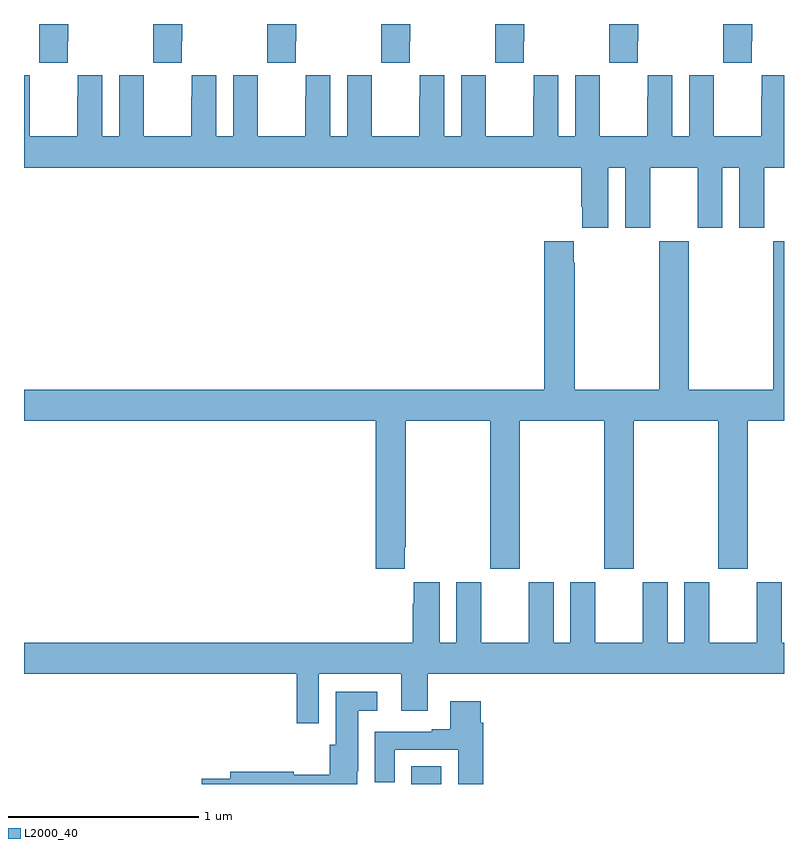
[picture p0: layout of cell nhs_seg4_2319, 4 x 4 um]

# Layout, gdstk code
import gdstk
lib = gdstk.Library(unit=1e-6, precision=1e-09)
def R(c, l, rs):  # rectangles x0, y0, x1, y1
    for r in rs: c.add(gdstk.rectangle(r[:2], r[2:], *l))
def P(c, l, *ps):  # polygons
    for p in ps: c.add(gdstk.Polygon(p, *l))
L2000_40 = (2000, 40)

nhs_seg4_2319 = lib.new_cell('nhs_seg4_2319')
R(nhs_seg4_2319, L2000_40, [(233.039,802.9,233.197,802.994)])
P(nhs_seg4_2319, L2000_40, [(231.231,806.809),(231.234,806.809),(231.234,806.9),(231.079,806.9),(231.079,806.809),(231.081,806.809),(231.081,806.697),(231.231,806.697)],
  [(231.831,806.809),(231.834,806.809),(231.834,806.9),(231.679,806.9),(231.679,806.809),(231.681,806.809),(231.681,806.697),(231.831,806.697)],
  [(232.431,806.809),(232.434,806.809),(232.434,806.9),(232.279,806.9),(232.279,806.809),(232.281,806.809),(232.281,806.697),(232.431,806.697)],
  [(233.031,806.809),(233.034,806.809),(233.034,806.9),(232.879,806.9),(232.879,806.809),(232.881,806.809),(232.881,806.697),(233.031,806.697)],
  [(233.631,806.809),(233.634,806.809),(233.634,806.9),(233.479,806.9),(233.479,806.809),(233.481,806.809),(233.481,806.697),(233.631,806.697)],
  [(234.231,806.809),(234.234,806.809),(234.234,806.9),(234.079,806.9),(234.079,806.809),(234.081,806.809),(234.081,806.697),(234.231,806.697)],
  [(234.831,806.809),(234.834,806.809),(234.834,806.9),(234.679,806.9),(234.679,806.809),(234.681,806.809),(234.681,806.697),(234.831,806.697)],
  [(234.076,806.144),(234.164,806.144),(234.164,805.827),(234.295,805.827),(234.295,806.144),(234.545,806.144),(234.545,805.827),(234.676,805.827),(234.676,806.144),(234.764,806.144),(234.764,805.827),(234.895,805.827),(234.895,806.144),(235,806.144),(235,806.629),(234.882,806.629),(234.882,806.516),(234.881,806.516),(234.881,806.308),(234.631,806.308),(234.631,806.516),(234.63,806.516),(234.63,806.629),(234.5,806.629),(234.5,806.308),(234.412,806.308),(234.412,806.629),(234.282,806.629),(234.282,806.516),(234.281,806.516),(234.281,806.308),(234.031,806.308),(234.031,806.516),(234.03,806.516),(234.03,806.629),(233.9,806.629),(233.9,806.308),(233.812,806.308),(233.812,806.629),(233.682,806.629),(233.682,806.516),(233.681,806.516),(233.681,806.308),(233.431,806.308),(233.431,806.516),(233.43,806.516),(233.43,806.629),(233.3,806.629),(233.3,806.308),(233.212,806.308),(233.212,806.629),(233.082,806.629),(233.082,806.516),(233.081,806.516),(233.081,806.308),(232.831,806.308),(232.831,806.516),(232.83,806.516),(232.83,806.629),(232.7,806.629),(232.7,806.308),(232.612,806.308),(232.612,806.629),(232.482,806.629),(232.482,806.516),(232.481,806.516),(232.481,806.308),(232.231,806.308),(232.231,806.516),(232.23,806.516),(232.23,806.629),(232.1,806.629),(232.1,806.308),(232.012,806.308),(232.012,806.629),(231.882,806.629),(231.882,806.516),(231.881,806.516),(231.881,806.308),(231.631,806.308),(231.631,806.516),(231.63,806.516),(231.63,806.629),(231.5,806.629),(231.5,806.308),(231.412,806.308),(231.412,806.629),(231.282,806.629),(231.282,806.516),(231.281,806.516),(231.281,806.308),(231.031,806.308),(231.031,806.516),(231.03,806.516),(231.03,806.629),(231,806.629),(231,806.144),(233.933,806.144),(233.933,805.939),(233.939,805.939),(233.939,805.827),(234.076,805.827)],
  [(233.005,804.145),(233.01,804.145),(233.01,804.812),(233.455,804.812),(233.455,804.033),(233.61,804.033),(233.61,804.812),(234.055,804.812),(234.055,804.033),(234.21,804.033),(234.21,804.812),(234.655,804.812),(234.655,804.033),(234.81,804.033),(234.81,804.812),(235,804.812),(235,805.756),(234.943,805.756),(234.943,804.976),(234.498,804.976),(234.498,805.756),(234.343,805.756),(234.343,804.976),(233.898,804.976),(233.898,805.643),(233.893,805.643),(233.893,805.756),(233.738,805.756),(233.738,804.976),(231,804.976),(231,804.812),(232.85,804.812),(232.85,804.033),(233.005,804.033)],
  [(232.551,803.48),(232.985,803.48),(232.985,803.286),(233.125,803.286),(233.125,803.48),(235,803.48),(235,803.644),(234.988,803.644),(234.988,803.962),(234.857,803.962),(234.857,803.644),(234.607,803.644),(234.607,803.962),(234.476,803.962),(234.476,803.644),(234.388,803.644),(234.388,803.962),(234.257,803.962),(234.257,803.644),(234.007,803.644),(234.007,803.962),(233.876,803.962),(233.876,803.644),(233.788,803.644),(233.788,803.962),(233.657,803.962),(233.657,803.644),(233.407,803.644),(233.407,803.962),(233.276,803.962),(233.276,803.644),(233.188,803.644),(233.188,803.962),(233.051,803.962),(233.051,803.849),(233.045,803.849),(233.045,803.644),(231,803.644),(231,803.48),(232.435,803.48),(232.435,803.22),(232.551,803.22)],
  [(232.755,802.966),(232.759,802.966),(232.759,803.285),(232.858,803.285),(232.858,803.386),(232.64,803.386),(232.64,803.106),(232.61,803.106),(232.61,802.949),(232.42,802.949),(232.42,802.964),(232.085,802.964),(232.085,802.928),(231.936,802.928),(231.936,802.9),(232.755,802.9)],
  [(233.417,803.222),(233.404,803.222),(233.404,803.335),(233.243,803.335),(233.243,803.188),(233.147,803.188),(233.147,803.175),(232.847,803.175),(232.847,802.908),(232.951,802.908),(232.951,803.079),(233.285,803.079),(233.285,802.9),(233.417,802.9)])

lib.write_gds('nhs_seg4_2319.gds')
